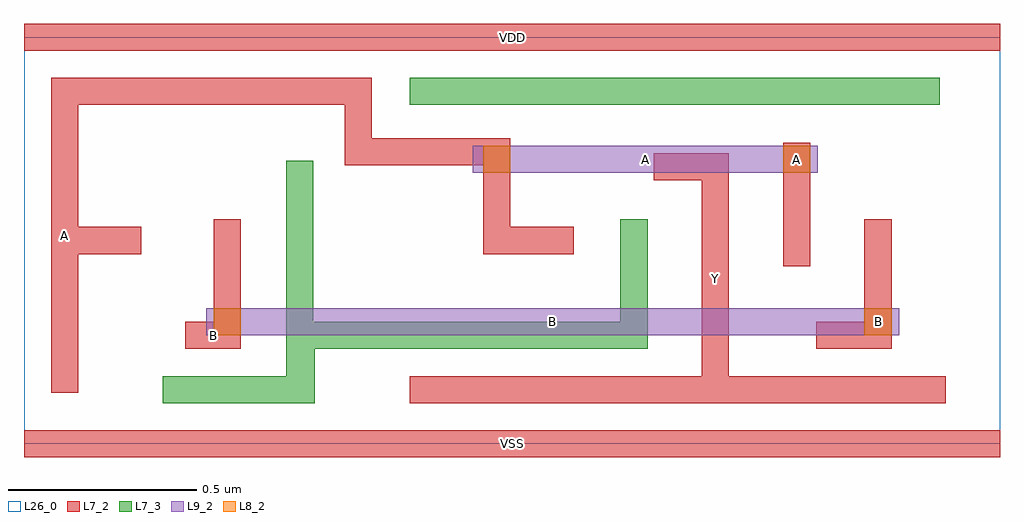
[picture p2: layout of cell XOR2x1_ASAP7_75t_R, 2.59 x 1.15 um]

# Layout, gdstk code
import gdstk
lib = gdstk.Library(unit=1e-6, precision=1e-09)
def R(c, l, rs):  # rectangles x0, y0, x1, y1
    for r in rs: c.add(gdstk.rectangle(r[:2], r[2:], *l))
L7_2 = (7, 2)
L7_3 = (7, 3)
L8_2 = (8, 2)
L9_2 = (9, 2)
L26_0 = (26, 0)

xor2x1_asap7_75t_r = lib.new_cell('XOR2x1_ASAP7_75t_R')
R(xor2x1_asap7_75t_r, L7_2, [(0,-0.036,2.592,0.036), (1.024,0.108,2.448,0.18), (1.8,0.108,1.872,0.772), (0.072,0.136,0.144,0.972), (0.428,0.252,0.576,0.324), (0.504,0.252,0.576,0.596), (2.104,0.252,2.304,0.324), (2.232,0.252,2.304,0.596), (2.016,0.472,2.088,0.8), (0.072,0.504,0.312,0.576), (1.22,0.504,1.46,0.576), (1.22,0.504,1.292,0.812), (1.672,0.7,1.872,0.772), (0.852,0.74,1.292,0.812), (0.852,0.74,0.924,0.972), (0.072,0.9,0.924,0.972), (0,1.044,2.592,1.116)])
R(xor2x1_asap7_75t_r, L7_3, [(0.368,0.108,0.772,0.18), (0.696,0.108,0.768,0.752), (0.696,0.108,0.772,0.324), (0.696,0.252,1.656,0.324), (1.584,0.252,1.656,0.596), (1.024,0.9,2.432,0.972)])
R(xor2x1_asap7_75t_r, L8_2, [(0.504,0.288,0.576,0.36), (2.232,0.288,2.304,0.36), (1.22,0.72,1.292,0.792), (2.016,0.72,2.088,0.792)])
R(xor2x1_asap7_75t_r, L9_2, [(0.484,0.288,2.324,0.36), (1.192,0.72,2.108,0.792)])
R(xor2x1_asap7_75t_r, L26_0, [(0,0,2.592,1.08)])
xor2x1_asap7_75t_r.add(gdstk.Label('A', (0.108,0.554), layer=7, texttype=1))
xor2x1_asap7_75t_r.add(gdstk.Label('VDD', (1.296,1.08), layer=7, texttype=1))
xor2x1_asap7_75t_r.add(gdstk.Label('VSS', (1.296,0), layer=7, texttype=1))
xor2x1_asap7_75t_r.add(gdstk.Label('Y', (1.836,0.44), layer=7, texttype=1))
xor2x1_asap7_75t_r.add(gdstk.Label('B', (0.502,0.288), layer=7, texttype=1))
xor2x1_asap7_75t_r.add(gdstk.Label('A', (1.65,0.756), layer=9, texttype=1))
xor2x1_asap7_75t_r.add(gdstk.Label('B', (1.404,0.324), layer=9, texttype=1))
xor2x1_asap7_75t_r.add(gdstk.Label('A', (2.052,0.756), layer=8, texttype=1))
xor2x1_asap7_75t_r.add(gdstk.Label('B', (2.268,0.324), layer=8, texttype=1))

lib.write_gds('XOR2x1_ASAP7_75t_R.gds')
